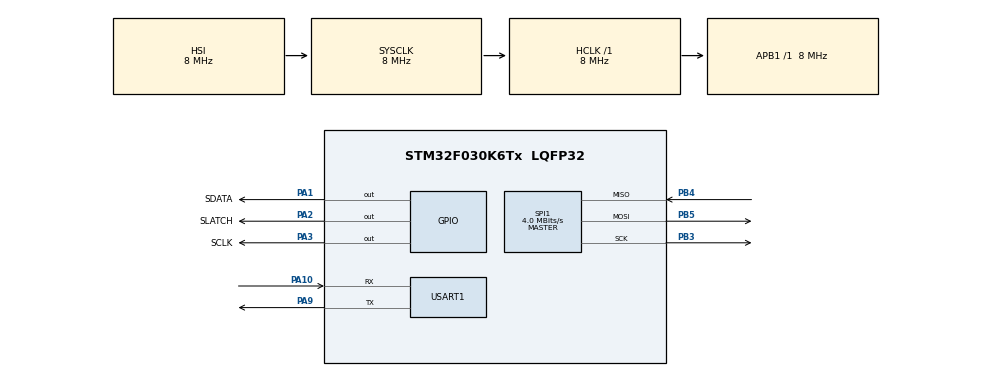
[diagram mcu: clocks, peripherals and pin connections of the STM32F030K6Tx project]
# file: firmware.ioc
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Dma.Request0=USART1_TX
Dma.USART1_TX.0.Direction=DMA_MEMORY_TO_PERIPH
Dma.USART1_TX.0.Instance=DMA1_Channel2
Dma.USART1_TX.0.MemDataAlignment=DMA_MDATAALIGN_BYTE
Dma.USART1_TX.0.MemInc=DMA_MINC_ENABLE
Dma.USART1_TX.0.Mode=DMA_NORMAL
Dma.USART1_TX.0.PeriphDataAlignment=DMA_PDATAALIGN_BYTE
Dma.USART1_TX.0.PeriphInc=DMA_PINC_DISABLE
Dma.USART1_TX.0.Priority=DMA_PRIORITY_LOW
Mcu.Family=STM32F0
Mcu.Name=STM32F030K6Tx
Mcu.Package=LQFP32
NVIC.DMA1_Channel2_3_IRQn=true\:0\:0\:false\:false\:true\:false\:true
NVIC.RTC_IRQn=true\:0\:0\:false\:false\:true\:true\:true
PA1.GPIO_Label=SDATA
PA1.Signal=GPIO_Output
PA10.Mode=Asynchronous
PA10.Signal=USART1_RX
PA13.Mode=Serial_Wire
PA13.Signal=SYS_SWDIO
PA14.Mode=Serial_Wire
PA14.Signal=SYS_SWCLK
PA2.GPIO_Label=SLATCH
PA2.Signal=GPIO_Output
PA3.GPIO_Label=SCLK
PA3.Signal=GPIO_Output
PA9.Mode=Asynchronous
PA9.Signal=USART1_TX
PB3.Mode=Full_Duplex_Master
PB3.Signal=SPI1_SCK
PB4.Mode=Full_Duplex_Master
PB4.Signal=SPI1_MISO
PB5.Mode=Full_Duplex_Master
PB5.Signal=SPI1_MOSI
ProjectManager.HeapSize=0x200
ProjectManager.StackSize=0x400
ProjectManager.TargetToolchain=Makefile
RCC.AHBFreq_Value=8000000
RCC.APB1Freq_Value=8000000
RCC.APB1TimFreq_Value=8000000
RCC.HCLKFreq_Value=8000000
RCC.HSE_VALUE=16000000
RCC.PLLDivider=RCC_PREDIV_DIV4
RCC.SYSCLKFreq_VALUE=8000000
RTC.Alarm=RTC_ALARM_A
SPI1.CalculateBaudRate=4.0 MBits/s
SPI1.Direction=SPI_DIRECTION_2LINES
SPI1.Mode=SPI_MODE_MASTER
SPI1.VirtualType=VM_MASTER
USART1.VirtualMode-Asynchronous=VM_ASYNC
VP_RTC_VS_RTC_Activate.Mode=RTC_Enabled
VP_RTC_VS_RTC_Alarm_A_Intern.Mode=Alarm A
VP_RTC_VS_RTC_Calendar.Mode=RTC_Calendar
board=custom

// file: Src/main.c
/* USER CODE BEGIN Header */
/**
  ******************************************************************************
  * @file           : main.c
  * @brief          : Main program body
  ******************************************************************************
  * @attention
  *
  * <h2><center>&copy; Copyright (c) 2019 STMicroelectronics.
  * All rights reserved.</center></h2>
  *
  * This software component is licensed by ST under BSD 3-Clause license,
  * the "License"; You may not use this file except in compliance with the
  * License. You may obtain a copy of the License at:
  *                        opensource.org/licenses/BSD-3-Clause
  *
  ******************************************************************************
  */
/* USER CODE END Header */

#include "main.h"

/* USER CODE BEGIN Includes */
#include <math.h>
/* USER CODE END Includes */

/* USER CODE BEGIN PD */
#define NUM_LEDS 24
/* USER CODE END PD */

RTC_HandleTypeDef hrtc;

SPI_HandleTypeDef hspi1;

UART_HandleTypeDef huart1;
DMA_HandleTypeDef hdma_usart1_tx;

/* USER CODE BEGIN PV */

RTC_TimeTypeDef sTime;
RTC_DateTypeDef sDate;
RTC_AlarmTypeDef sAlarm;
uint8_t waits[NUM_LEDS] = {
  200, 175, 175, 175,
  125, 125, 100, 100,
  100, 100, 75, 75,
  75, 75, 100, 100,
  100, 100, 125, 125,
  175, 175, 175, 200
};

uint32_t grid[24] = {
  0x010000, 0x020000, 0x040000, 0x080000,
  0x100000, 0x200000, 0x400000, 0x800000,
  0x000100, 0x000200, 0x000400, 0x000800,
  0x001000, 0x002000, 0x004000, 0x008000,
  0x000001, 0x000002, 0x000004, 0x000008,
  0x000010, 0x000020, 0x000040, 0x000080
};
/* USER CODE END PV */

void
SystemClock_Config(void);
static void MX_GPIO_Init(void);
static void MX_DMA_Init(void);
static void MX_SPI1_Init(void);
static void MX_USART1_UART_Init(void);
static void MX_RTC_Init(void);
/* USER CODE BEGIN PFP */
void getDateTime(void);
void setDateTime(void);
void setAlarm(uint8_t minutes);
void enterStandbyMode(void);
void shiftOut(uint32_t data);

/* USER CODE END PFP */

/* USER CODE BEGIN 0 */
void getDateTime(void) {
  __disable_irq();
  HAL_RTC_GetTime(&hrtc, &sTime, RTC_FORMAT_BCD);
  HAL_RTC_GetDate(&hrtc, &sDate, RTC_FORMAT_BCD);
  __enable_irq();
}

void setDateTime(void) {
  __disable_irq();
  sTime.Hours = 0x0;
  sTime.Minutes = 0x0;
  sTime.Seconds = 0x0;
  sTime.DayLightSaving = RTC_DAYLIGHTSAVING_NONE;
  sTime.StoreOperation = RTC_STOREOPERATION_RESET;
  if (HAL_RTC_SetTime(&hrtc, &sTime, RTC_FORMAT_BCD) != HAL_OK)
  {
	Error_Handler();
  }
  sDate.WeekDay = RTC_WEEKDAY_MONDAY;
  sDate.Month = RTC_MONTH_JANUARY;
  sDate.Date = 0x1;
  sDate.Year = 0x0;

  if (HAL_RTC_SetDate(&hrtc, &sDate, RTC_FORMAT_BCD) != HAL_OK)
  {
	Error_Handler();
  }
  __enable_irq();
}

void setAlarm(uint8_t minutes) {
  setDateTime();
  sAlarm.AlarmTime.Hours = 0x0;
  sAlarm.AlarmTime.Minutes = minutes;
  sAlarm.AlarmTime.Seconds = 0x0;
  sAlarm.AlarmTime.SubSeconds = 0x0;
  sAlarm.AlarmTime.DayLightSaving = RTC_DAYLIGHTSAVING_NONE;
  sAlarm.AlarmTime.StoreOperation = RTC_STOREOPERATION_RESET;
  sAlarm.AlarmMask = RTC_ALARMMASK_NONE;
  sAlarm.AlarmSubSecondMask = RTC_ALARMSUBSECONDMASK_ALL;
  sAlarm.AlarmDateWeekDaySel = RTC_ALARMDATEWEEKDAYSEL_DATE;
  sAlarm.AlarmDateWeekDay = 0x1;
  sAlarm.Alarm = RTC_ALARM_A;
  if (HAL_RTC_SetAlarm_IT(&hrtc, &sAlarm, RTC_FORMAT_BCD) != HAL_OK)
  {
	Error_Handler();
  }
}

void enterStandbyMode(void)
{
	/* Enable Power Peripheral */
	__HAL_RCC_PWR_CLK_ENABLE();

	/* Enter STANDBY mode */
	HAL_PWR_EnterSTANDBYMode();
}
void shiftOut(uint32_t data) {
  HAL_GPIO_WritePin(SLATCH_GPIO_Port, SLATCH_Pin, 0);
  HAL_GPIO_WritePin(SCLK_GPIO_Port, SCLK_Pin, 0);
  HAL_GPIO_WritePin(SDATA_GPIO_Port, SDATA_Pin, 0);

  for (uint8_t ii = 0; ii < NUM_LEDS; ii++)  {
    HAL_GPIO_WritePin(SDATA_GPIO_Port, SDATA_Pin, data & (1 << ii) ? 1 : 0);

    HAL_GPIO_WritePin(SCLK_GPIO_Port, SCLK_Pin, 1);
    HAL_GPIO_WritePin(SCLK_GPIO_Port, SCLK_Pin, 0);
  }
  HAL_GPIO_WritePin(SLATCH_GPIO_Port, SLATCH_Pin, 1);
  HAL_GPIO_WritePin(SLATCH_GPIO_Port, SLATCH_Pin, 0);
  HAL_GPIO_WritePin(SDATA_GPIO_Port, SDATA_Pin, 0);
}

/* USER CODE END 0 */

int main(void)
{

  /* MCU Configuration--------------------------------------------------------*/

  /* Reset of all peripherals, Initializes the Flash interface and the Systick. */
  HAL_Init();

  /* Configure the system clock */
  SystemClock_Config();

  /* Initialize all configured peripherals */
  MX_GPIO_Init();
  MX_DMA_Init();
  MX_SPI1_Init();
  MX_USART1_UART_Init();
  MX_RTC_Init();

  /* Infinite loop */
  /* USER CODE BEGIN WHILE */
  if(__HAL_PWR_GET_FLAG(PWR_FLAG_SB)) {
    __HAL_PWR_CLEAR_FLAG(PWR_FLAG_WU | PWR_FLAG_SB);
  }
  uint8_t times = 200;
  while (1)
  {
    for(uint8_t ii = 0;ii < 24; ii++) {
      shiftOut(grid[ii]);
      HAL_Delay(waits[ii]);
    }
    for (uint8_t ii = 23; ii != 255; ii--) {
      shiftOut(grid[ii]);
      HAL_Delay(waits[ii]);
    }
    times--;
    if(times == 0) {
      shiftOut(0);
      setAlarm(1);
      enterStandbyMode();
    }
    /* USER CODE END WHILE */

  }
}

void SystemClock_Config(void)
{
  RCC_OscInitTypeDef RCC_OscInitStruct = {0};
  RCC_ClkInitTypeDef RCC_ClkInitStruct = {0};
  RCC_PeriphCLKInitTypeDef PeriphClkInit = {0};

  /** Initializes the CPU, AHB and APB busses clocks
  */
  RCC_OscInitStruct.OscillatorType = RCC_OSCILLATORTYPE_HSI|RCC_OSCILLATORTYPE_LSI;
  RCC_OscInitStruct.HSIState = RCC_HSI_ON;
  RCC_OscInitStruct.HSICalibrationValue = RCC_HSICALIBRATION_DEFAULT;
  RCC_OscInitStruct.LSIState = RCC_LSI_ON;
  RCC_OscInitStruct.PLL.PLLState = RCC_PLL_NONE;
  if (HAL_RCC_OscConfig(&RCC_OscInitStruct) != HAL_OK)
  {
    Error_Handler();
  }
  /** Initializes the CPU, AHB and APB busses clocks
  */
  RCC_ClkInitStruct.ClockType = RCC_CLOCKTYPE_HCLK|RCC_CLOCKTYPE_SYSCLK
                              |RCC_CLOCKTYPE_PCLK1;
  RCC_ClkInitStruct.SYSCLKSource = RCC_SYSCLKSOURCE_HSI;
  RCC_ClkInitStruct.AHBCLKDivider = RCC_SYSCLK_DIV1;
  RCC_ClkInitStruct.APB1CLKDivider = RCC_HCLK_DIV1;

  if (HAL_RCC_ClockConfig(&RCC_ClkInitStruct, FLASH_LATENCY_0) != HAL_OK)
  {
    Error_Handler();
  }
  PeriphClkInit.PeriphClockSelection = RCC_PERIPHCLK_USART1|RCC_PERIPHCLK_RTC;
  PeriphClkInit.Usart1ClockSelection = RCC_USART1CLKSOURCE_PCLK1;
  PeriphClkInit.RTCClockSelection = RCC_RTCCLKSOURCE_LSI;
  if (HAL_RCCEx_PeriphCLKConfig(&PeriphClkInit) != HAL_OK)
  {
    Error_Handler();
  }
}

static void MX_RTC_Init(void)
{

  RTC_TimeTypeDef sTime = {0};
  RTC_DateTypeDef sDate = {0};
  RTC_AlarmTypeDef sAlarm = {0};

  /** Initialize RTC Only
  */
  hrtc.Instance = RTC;
  hrtc.Init.HourFormat = RTC_HOURFORMAT_24;
  hrtc.Init.AsynchPrediv = 127;
  hrtc.Init.SynchPrediv = 255;
  hrtc.Init.OutPut = RTC_OUTPUT_DISABLE;
  hrtc.Init.OutPutPolarity = RTC_OUTPUT_POLARITY_HIGH;
  hrtc.Init.OutPutType = RTC_OUTPUT_TYPE_OPENDRAIN;
  if (HAL_RTC_Init(&hrtc) != HAL_OK)
  {
    Error_Handler();
  }

  /** Initialize RTC and set the Time and Date
  */
  sTime.Hours = 0x0;
  sTime.Minutes = 0x0;
  sTime.Seconds = 0x0;
  sTime.DayLightSaving = RTC_DAYLIGHTSAVING_NONE;
  sTime.StoreOperation = RTC_STOREOPERATION_RESET;
  if (HAL_RTC_SetTime(&hrtc, &sTime, RTC_FORMAT_BCD) != HAL_OK)
  {
    Error_Handler();
  }
  sDate.WeekDay = RTC_WEEKDAY_MONDAY;
  sDate.Month = RTC_MONTH_JANUARY;
  sDate.Date = 0x1;
  sDate.Year = 0x0;

  if (HAL_RTC_SetDate(&hrtc, &sDate, RTC_FORMAT_BCD) != HAL_OK)
  {
    Error_Handler();
  }
  /** Enable the Alarm A
  */
  sAlarm.AlarmTime.Hours = 0x0;
  sAlarm.AlarmTime.Minutes = 0x0;
  sAlarm.AlarmTime.Seconds = 0x0;
  sAlarm.AlarmTime.SubSeconds = 0x0;
  sAlarm.AlarmTime.DayLightSaving = RTC_DAYLIGHTSAVING_NONE;
  sAlarm.AlarmTime.StoreOperation = RTC_STOREOPERATION_RESET;
  sAlarm.AlarmMask = RTC_ALARMMASK_NONE;
  sAlarm.AlarmSubSecondMask = RTC_ALARMSUBSECONDMASK_ALL;
  sAlarm.AlarmDateWeekDaySel = RTC_ALARMDATEWEEKDAYSEL_DATE;
  sAlarm.AlarmDateWeekDay = 0x1;
  sAlarm.Alarm = RTC_ALARM_A;
  if (HAL_RTC_SetAlarm_IT(&hrtc, &sAlarm, RTC_FORMAT_BCD) != HAL_OK)
  {
    Error_Handler();
  }

}

static void MX_SPI1_Init(void)
{

  /* SPI1 parameter configuration*/
  hspi1.Instance = SPI1;
  hspi1.Init.Mode = SPI_MODE_MASTER;
  hspi1.Init.Direction = SPI_DIRECTION_2LINES;
  hspi1.Init.DataSize = SPI_DATASIZE_4BIT;
  hspi1.Init.CLKPolarity = SPI_POLARITY_LOW;
  hspi1.Init.CLKPhase = SPI_PHASE_1EDGE;
  hspi1.Init.NSS = SPI_NSS_SOFT;
  hspi1.Init.BaudRatePrescaler = SPI_BAUDRATEPRESCALER_2;
  hspi1.Init.FirstBit = SPI_FIRSTBIT_MSB;
  hspi1.Init.TIMode = SPI_TIMODE_DISABLE;
  hspi1.Init.CRCCalculation = SPI_CRCCALCULATION_DISABLE;
  hspi1.Init.CRCPolynomial = 7;
  hspi1.Init.CRCLength = SPI_CRC_LENGTH_DATASIZE;
  hspi1.Init.NSSPMode = SPI_NSS_PULSE_ENABLE;
  if (HAL_SPI_Init(&hspi1) != HAL_OK)
  {
    Error_Handler();
  }

}

static void MX_USART1_UART_Init(void)
{

  huart1.Instance = USART1;
  huart1.Init.BaudRate = 38400;
  huart1.Init.WordLength = UART_WORDLENGTH_8B;
  huart1.Init.StopBits = UART_STOPBITS_1;
  huart1.Init.Parity = UART_PARITY_NONE;
  huart1.Init.Mode = UART_MODE_TX_RX;
  huart1.Init.HwFlowCtl = UART_HWCONTROL_NONE;
  huart1.Init.OverSampling = UART_OVERSAMPLING_16;
  huart1.Init.OneBitSampling = UART_ONE_BIT_SAMPLE_DISABLE;
  huart1.AdvancedInit.AdvFeatureInit = UART_ADVFEATURE_NO_INIT;
  if (HAL_UART_Init(&huart1) != HAL_OK)
  {
    Error_Handler();
  }

}

static void MX_DMA_Init(void)
{
  /* DMA controller clock enable */
  __HAL_RCC_DMA1_CLK_ENABLE();

  /* DMA interrupt init */
  /* DMA1_Channel2_3_IRQn interrupt configuration */
  HAL_NVIC_SetPriority(DMA1_Channel2_3_IRQn, 0, 0);
  HAL_NVIC_EnableIRQ(DMA1_Channel2_3_IRQn);

}

static void MX_GPIO_Init(void)
{
  GPIO_InitTypeDef GPIO_InitStruct = {0};

  /* GPIO Ports Clock Enable */
  __HAL_RCC_GPIOA_CLK_ENABLE();
  __HAL_RCC_GPIOB_CLK_ENABLE();

  /*Configure GPIO pin Output Level */
  HAL_GPIO_WritePin(GPIOA, SDATA_Pin|SLATCH_Pin|SCLK_Pin, GPIO_PIN_RESET);

  /*Configure GPIO pins : SDATA_Pin SLATCH_Pin SCLK_Pin */
  GPIO_InitStruct.Pin = SDATA_Pin|SLATCH_Pin|SCLK_Pin;
  GPIO_InitStruct.Mode = GPIO_MODE_OUTPUT_PP;
  GPIO_InitStruct.Pull = GPIO_NOPULL;
  GPIO_InitStruct.Speed = GPIO_SPEED_FREQ_LOW;
  HAL_GPIO_Init(GPIOA, &GPIO_InitStruct);

}

void Error_Handler(void)
{
}

/************************ (C) COPYRIGHT STMicroelectronics *****END OF FILE****/
